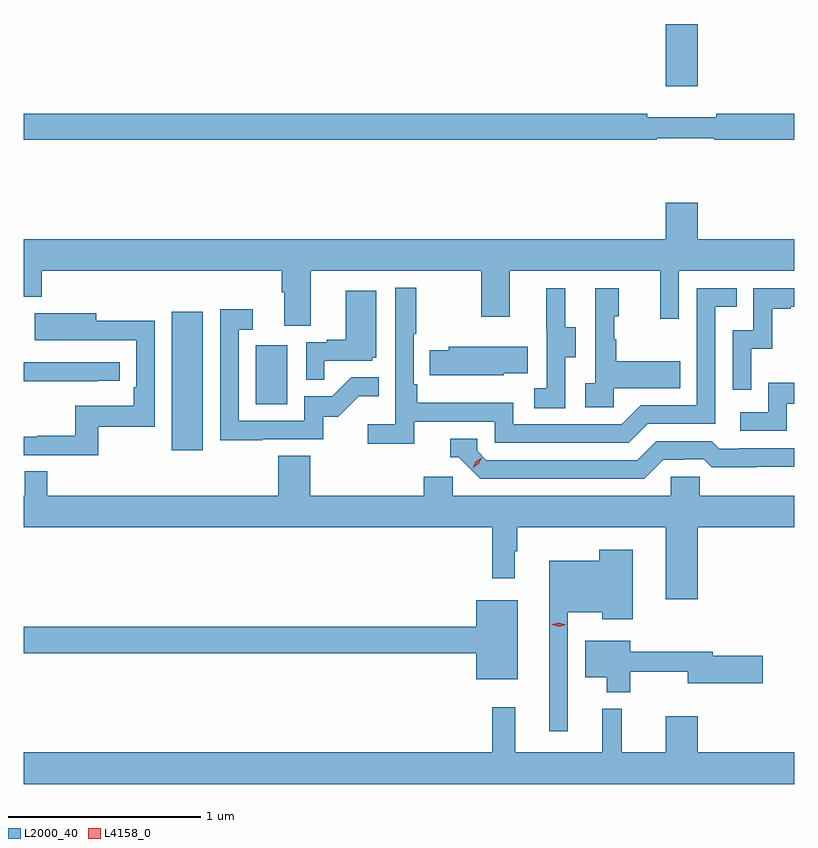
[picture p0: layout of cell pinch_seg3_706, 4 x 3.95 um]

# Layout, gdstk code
import gdstk
lib = gdstk.Library(unit=1e-6, precision=1e-09)
def R(c, l, rs):  # rectangles x0, y0, x1, y1
    for r in rs: c.add(gdstk.rectangle(r[:2], r[2:], *l))
def P(c, l, *ps):  # polygons
    for p in ps: c.add(gdstk.Polygon(p, *l))
L2000_40 = (2000, 40)
L4158_0 = (4158, 0)

pinch_seg3_706 = lib.new_cell('pinch_seg3_706')
R(pinch_seg3_706, L2000_40, [(1085.519,674.676,1085.68,675.397), (1085.954,674.916,1086.118,675.223), (1088.084,676.566,1088.248,676.89)])
P(pinch_seg3_706, L2000_40, [(1088.036,676.296),(1088.336,676.296),(1088.336,676.288),(1088.75,676.288),(1088.75,676.424),(1088.344,676.424),(1088.344,676.405),(1087.988,676.405),(1087.988,676.424),(1084.75,676.424),(1084.75,676.288),(1088.036,676.288)],
  [(1086.241,675.608),(1087.126,675.608),(1087.126,675.369),(1087.273,675.369),(1087.273,675.608),(1088.054,675.608),(1088.054,675.36),(1088.151,675.36),(1088.151,675.608),(1088.75,675.608),(1088.75,675.772),(1088.248,675.772),(1088.248,675.961),(1088.084,675.961),(1088.084,675.772),(1084.75,675.772),(1084.75,675.473),(1084.844,675.473),(1084.844,675.608),(1086.089,675.608),(1086.089,675.496),(1086.101,675.496),(1086.101,675.322),(1086.241,675.322)],
  [(1086.776,674.826),(1087.194,674.826),(1087.194,674.715),(1087.891,674.715),(1087.99,674.814),(1088.34,674.814),(1088.34,675.423),(1088.453,675.423),(1088.453,675.519),(1088.244,675.519),(1088.244,674.91),(1087.953,674.91),(1087.854,674.811),(1087.29,674.811),(1087.29,674.923),(1086.793,674.923),(1086.793,675.019),(1086.774,675.019),(1086.774,675.283),(1086.787,675.283),(1086.787,675.52),(1086.678,675.52),(1086.678,674.812),(1086.537,674.812),(1086.537,674.71),(1086.776,674.71)],
  [(1088.526,675.203),(1088.636,675.203),(1088.636,675.411),(1088.731,675.411),(1088.731,675.423),(1088.75,675.423),(1088.75,675.519),(1088.538,675.519),(1088.538,675.3),(1088.43,675.3),(1088.43,674.991),(1088.526,674.991)],
  [(1087.812,674.999),(1088.159,674.999),(1088.159,675.139),(1087.825,675.139),(1087.825,675.254),(1087.815,675.254),(1087.815,675.372),(1087.84,675.372),(1087.84,675.517),(1087.716,675.517),(1087.716,675.026),(1087.665,675.026),(1087.665,674.901),(1087.812,674.901)],
  [(1087.56,675.16),(1087.615,675.16),(1087.615,675.315),(1087.561,675.315),(1087.561,675.517),(1087.463,675.517),(1087.463,675.303),(1087.464,675.303),(1087.464,674.999),(1087.401,674.999),(1087.401,674.896),(1087.56,674.896)],
  [(1086.311,675.141),(1086.558,675.141),(1086.558,675.156),(1086.58,675.156),(1086.58,675.505),(1086.422,675.505),(1086.422,675.25),(1086.323,675.25),(1086.323,675.237),(1086.216,675.237),(1086.216,675.043),(1086.311,675.043)],
  [(1085.987,674.733),(1086.306,674.733),(1086.306,674.85),(1086.382,674.85),(1086.489,674.957),(1086.593,674.957),(1086.593,675.056),(1086.449,675.056),(1086.351,674.958),(1086.207,674.958),(1086.207,674.829),(1085.865,674.829),(1085.865,675.303),(1085.938,675.303),(1085.938,675.409),(1085.769,675.409),(1085.769,674.728),(1085.987,674.728)],
  [(1085.137,674.799),(1085.43,674.799),(1085.43,675.35),(1085.125,675.35),(1085.125,675.388),(1084.807,675.388),(1084.807,675.248),(1085.021,675.248),(1085.021,675.249),(1085.334,675.249),(1085.334,675.004),(1085.321,675.004),(1085.321,674.908),(1085.016,674.908),(1085.016,674.753),(1084.819,674.753),(1084.819,674.748),(1084.75,674.748),(1084.75,674.652),(1085.137,674.652)],
  [(1087.242,675.077),(1087.367,675.077),(1087.367,675.214),(1086.957,675.214),(1086.957,675.195),(1086.859,675.195),(1086.859,675.065),(1087.242,675.065)],
  [(1085.135,675.039),(1085.248,675.039),(1085.248,675.135),(1084.75,675.135),(1084.75,675.034),(1085.135,675.034)],
  [(1088.712,674.919),(1088.75,674.919),(1088.75,675.028),(1088.616,675.028),(1088.616,674.874),(1088.469,674.874),(1088.469,674.778),(1088.712,674.778)],
  [(1088.071,674.628),(1088.178,674.628),(1088.178,674.631),(1088.281,674.631),(1088.323,674.589),(1088.556,674.589),(1088.556,674.591),(1088.75,674.591),(1088.75,674.688),(1088.461,674.688),(1088.461,674.685),(1088.362,674.685),(1088.323,674.724),(1088.034,674.724),(1087.935,674.625),(1087.152,674.625),(1087.104,674.673),(1087.104,674.736),(1086.965,674.736),(1086.965,674.64),(1087.008,674.64),(1087.119,674.529),(1087.972,674.529)],
  [(1088.248,674.276),(1088.75,674.276),(1088.75,674.44),(1088.259,674.44),(1088.259,674.538),(1088.109,674.538),(1088.109,674.44),(1086.978,674.44),(1086.978,674.538),(1086.827,674.538),(1086.827,674.44),(1086.236,674.44),(1086.236,674.648),(1086.071,674.648),(1086.071,674.44),(1084.871,674.44),(1084.871,674.567),(1084.755,674.567),(1084.755,674.44),(1084.75,674.44),(1084.75,674.276),(1087.183,674.276),(1087.183,674.013),(1087.3,674.013),(1087.3,674.153),(1087.312,674.153),(1087.312,674.276),(1088.084,674.276),(1088.084,673.902),(1088.248,673.902)],
  [(1087.575,673.835),(1087.754,673.835),(1087.754,673.799),(1087.912,673.799),(1087.912,674.161),(1087.737,674.161),(1087.737,674.104),(1087.478,674.104),(1087.478,673.218),(1087.575,673.218)],
  [(1087.315,673.897),(1087.1,673.897),(1087.1,673.76),(1084.75,673.76),(1084.75,673.624),(1087.1,673.624),(1087.1,673.487),(1087.315,673.487)],
  [(1087.9,673.528),(1088.198,673.528),(1088.198,673.468),(1088.587,673.468),(1088.587,673.61),(1088.326,673.61),(1088.326,673.631),(1087.9,673.631),(1087.9,673.687),(1087.664,673.687),(1087.664,673.499),(1087.778,673.499),(1087.778,673.421),(1087.9,673.421)],
  [(1088.75,673.108),(1088.248,673.108),(1088.248,673.297),(1088.084,673.297),(1088.084,673.108),(1087.854,673.108),(1087.854,673.336),(1087.754,673.336),(1087.754,673.108),(1087.301,673.108),(1087.301,673.342),(1087.183,673.342),(1087.183,673.108),(1084.75,673.108),(1084.75,672.944),(1088.75,672.944)])
P(pinch_seg3_706, L4158_0, [(1087.529,673.761),(1087.494,673.772),(1087.493,673.772),(1087.494,673.773),(1087.529,673.781),(1087.564,673.77),(1087.565,673.77),(1087.564,673.77)],
  [(1087.082,674.586),(1087.082,674.586),(1087.098,674.619),(1087.128,674.639),(1087.128,674.639),(1087.128,674.639),(1087.113,674.606),(1087.082,674.586)])

lib.write_gds('pinch_seg3_706.gds')
